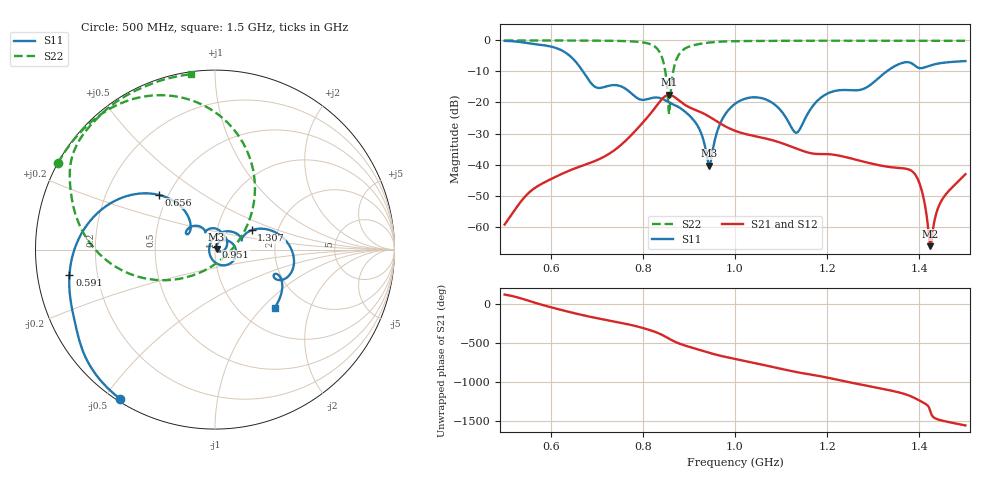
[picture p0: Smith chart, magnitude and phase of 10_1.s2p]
! TOUCHSTONE file generated by CST MICROWAVE STUDIO
! Date and time: Mon Oct 26 12:05:47 2020
! Project name: Scenario_1_Circular_Tissue_out_of_Line_v2.cst
! Parameters = {dy1=-190.3; L_HA=400; MT=2.54; Rad_Dielectric=30; Rad_Lower=7.3; Rad_Upper=30; a_HA=580; a_WG=246; b_HA=500; b_WG=121; c_HA=0; c_WG=187; d_feed=85; dx1=173; h_feed=15; h_lower=18; h_upper=40}
! Header version: 2018
! Port assignment regex: !\s*Touchstone port\s*([0-9]+)\s*=\s*(CST MWS port|CST DS port)\s*([0-9]+|Zmin|Zmax)\s*\(\"(.*)\"\)(\s*mode\s*([0-9]+))?.*
! Touchstone port assignment:
! Touchstone port 1 = CST MWS port 1 ("")
! Touchstone port 2 = CST MWS port 2 ("")
# GHz S DB R 50
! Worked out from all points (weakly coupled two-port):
!   1003 points, 500 MHz to 1.5 GHz, reference 50 ohm
!   highest |S21| = -17.52 dB at 857 MHz (marker M1); lowest = -66.3 dB at 1.424 GHz (marker M2)
!   lowest |S11| = -40.4 dB at 944 MHz (marker M3), VSWR 1.02, Z = 50.9 + j0.324 ohm
!   |S11| at or under -10 dB: 670 MHz to 1.329 GHz (658.9 MHz wide, 65.9 % of centre)
!   |S22| runs from -23.7 to 0.0 dB; largest |S21 - S12| = 2.3e-05
!   S11 on the Smith chart (normalised r, x): 500 MHz: 0.01, -0.55; 591 MHz: 0.10, -0.09; 656 MHz: 0.44, +0.34; 951 MHz: 1.01, +0.03; 1.307 GHz: 1.47, +0.34; 1.5 GHz: 1.42, -1.18
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0.5  -0.13 -122.6  -59.34 125.8  -59.34 125.8  -0.01 151.1
0.591  -1.69 -170.1  -45.39 -22.2  -45.39 -22.2  -0.02 144.8
0.656  -7.17 135.9  -41.05 -120.0  -41.05 -120.0  -0.04 139.4
0.667  -9.34 129.7  -40.47 -135.1  -40.47 -135.1  -0.04 138.4
0.781  -17.82 118.5  -29.55 86.6  -29.55 86.6  -0.35 120.1
0.834  -18.46 94.1  -20.27 -10.6  -20.27 -10.6  -3.21 82.4
0.857  -20.00 65.1  -17.52 -80.7  -17.52 -80.7  -23.72 -50.2
0.88  -21.69 36.0  -19.55 -144.6  -19.55 -144.6  -4.18 -175.4
0.92  -27.81 -14.3  -22.76 140.9  -22.76 140.9  -1.22 157.8
0.944  -40.36 19.4  -24.54 98.4  -24.54 98.4  -0.69 151.0
0.951  -35.91 64.7  -25.18 86.8  -25.18 86.8  -0.58 149.3
0.97  -26.09 61.4  -26.93 58.6  -26.93 58.6  -0.38 145.3
1  -20.44 27.2  -29.11 20.6  -29.11 20.6  -0.24 140.3
1.071  -19.28 -51.2  -31.76 -68.6  -31.75 -68.6  -0.16 132.3
1.133  -29.75 178.4  -34.83 -147.5  -34.83 -147.5  -0.10 127.0
1.167  -21.50 81.6  -36.41 177.2  -36.41 177.2  -0.09 124.1
1.307  -12.72 27.8  -40.05 12.4  -40.05 12.4  -0.10 113.5
1.334  -9.46 17.9  -40.76 -19.5  -40.76 -19.5  -0.10 111.5
1.393  -8.40 -25.9  -43.67 -130.2  -43.67 -130.2  -0.09 106.9
1.424  -8.06 -23.0  -66.30 68.1  -66.30 68.2  -0.10 104.4
1.448  -7.29 -30.0  -51.68 -48.2  -51.70 -48.1  -0.11 102.4
1.5  -6.65 -44.5  -43.10 -112.6  -43.10 -112.6  -0.12 97.8
